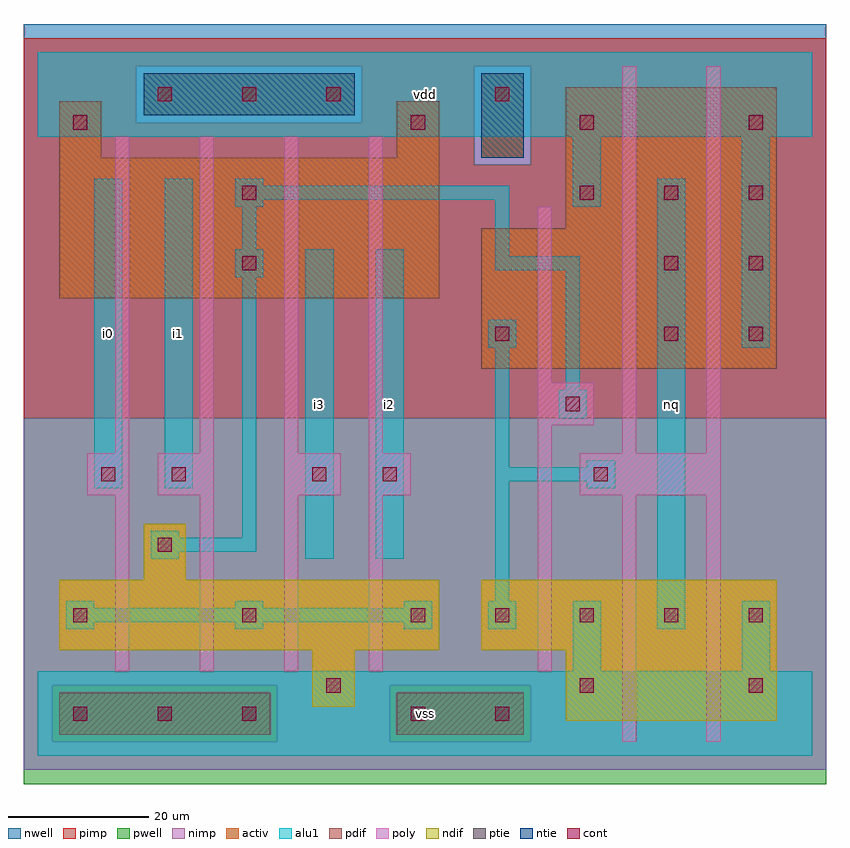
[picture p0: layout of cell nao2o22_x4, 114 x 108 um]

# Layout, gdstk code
import gdstk
lib = gdstk.Library(unit=1e-6, precision=1e-09)
def R(c, l, rs):  # rectangles x0, y0, x1, y1
    for r in rs: c.add(gdstk.rectangle(r[:2], r[2:], *l))
def A(c, l, x, y, w, h, nx, ny, dx, dy):  # array of equal rectangles
    R(c, l, [(x+i*dx, y+j*dy, x+i*dx+w, y+j*dy+h) for i in range(nx) for j in range(ny)])
ndif = (3, 0)
pdif = (4, 0)
ntie = (5, 0)
ptie = (6, 0)
cont = (25, 0)
pwell = (41, 0)
nwell = (42, 0)
activ = (43, 0)
pimp = (44, 0)
nimp = (45, 0)
poly = (46, 0)
alu1 = (49, 0)

nao2o22_x4 = lib.new_cell('nao2o22_x4')
R(nao2o22_x4, ndif, [(75,5,105,15), (39,7,45,15), (3,15,57,25), (63,15,105,25), (15,25,21,33)])
R(nao2o22_x4, pdif, [(63,55,105,75), (3,65,57,85), (75,75,105,95), (3,85,9,93), (51,85,57,93)])
R(nao2o22_x4, ntie, [(63,85,69,97), (15,91,45,97)])
R(nao2o22_x4, ptie, [(3,3,33,9), (51,3,69,9)])
A(nao2o22_x4, cont, 5, 5, 2, 2, 3, 1, 12, 0)
A(nao2o22_x4, cont, 5, 19, 2, 2, 3, 1, 24, 0)
A(nao2o22_x4, cont, 65, 19, 2, 2, 4, 1, 12, 0)
A(nao2o22_x4, cont, 77, 79, 2, 2, 3, 1, 12, 0)
A(nao2o22_x4, cont, 53, 89, 2, 2, 3, 1, 24, 0)
A(nao2o22_x4, cont, 17, 93, 2, 2, 3, 1, 12, 0)
R(nao2o22_x4, cont, [(53,5,55,7), (65,5,67,7), (41,9,43,11), (77,9,79,11), (101,9,103,11), (17,29,19,31), (9,39,11,41), (19,39,21,41), (39,39,41,41), (49,39,51,41), (79,39,81,41), (75,49,77,51), (65,59,67,61), (89,59,91,61), (101,59,103,61), (29,69,31,71), (89,69,91,71), (101,69,103,71), (29,79,31,81), (5,89,7,91), (65,93,67,95)])
R(nao2o22_x4, pwell, [(-2,-4,112,48)])
R(nao2o22_x4, nwell, [(-2,48,112,104)])
R(nao2o22_x4, activ, [(3,3,33,9), (51,3,69,9), (75,5,105,15), (39,7,45,15), (3,15,57,25), (63,15,105,25), (15,25,21,33), (63,55,105,75), (3,65,57,85), (75,75,105,95), (3,85,9,93), (51,85,57,93), (63,85,69,97), (15,91,45,97)])
R(nao2o22_x4, pimp, [(2,2,34,10), (50,2,70,10), (-2,48,112,84), (-2,84,62,90), (70,84,112,98), (-2,90,14,98), (46,90,62,98), (-2,98,112,102)])
R(nao2o22_x4, nimp, [(-2,-2,112,2), (-2,2,2,10), (34,2,50,10), (70,2,112,10), (-2,10,112,48), (62,84,70,98), (14,90,46,98)])
A(nao2o22_x4, poly, 11, 12, 2, 25, 4, 1, 12, 0)
A(nao2o22_x4, poly, 11, 43, 2, 45, 4, 1, 12, 0)
R(nao2o22_x4, poly, [(83,2,85,37), (95,2,97,37), (71,12,73,47), (7,37,13,43), (17,37,25,43), (35,37,43,43), (47,37,53,43), (77,37,97,43), (83,43,85,98), (95,43,97,98), (71,47,79,53), (71,53,73,78)])
A(nao2o22_x4, alu1, 4, 18, 4, 1, 3, 2, 24, 3)
R(nao2o22_x4, alu1, [(0,0,110,12), (76,12,80,22), (100,12,104,22), (64,18,68,22), (88,18,92,82), (4,19,56,21), (65,22,67,39), (16,28,20,29), (38,28,42,72), (48,28,52,72), (16,29,31,31), (16,31,20,32), (29,31,31,68), (8,38,12,82), (18,38,22,82), (78,38,82,39), (65,39,82,41), (65,41,67,58), (78,41,82,42), (74,48,78,52), (75,52,77,69), (64,58,68,62), (100,58,104,88), (28,68,32,72), (65,69,77,71), (65,71,67,79), (29,72,31,78), (28,78,32,79), (76,78,80,88), (28,79,67,81), (28,81,32,82), (0,88,110,100)])
nao2o22_x4.add(gdstk.Label('i0', (10,60), layer=49, texttype=0))
nao2o22_x4.add(gdstk.Label('i1', (20,60), layer=49, texttype=0))
nao2o22_x4.add(gdstk.Label('vss', (55,6), layer=49, texttype=0))
nao2o22_x4.add(gdstk.Label('i3', (40,50), layer=49, texttype=0))
nao2o22_x4.add(gdstk.Label('i2', (50,50), layer=49, texttype=0))
nao2o22_x4.add(gdstk.Label('vdd', (55,94), layer=49, texttype=0))
nao2o22_x4.add(gdstk.Label('nq', (90,50), layer=49, texttype=0))

lib.write_gds('nao2o22_x4.gds')
